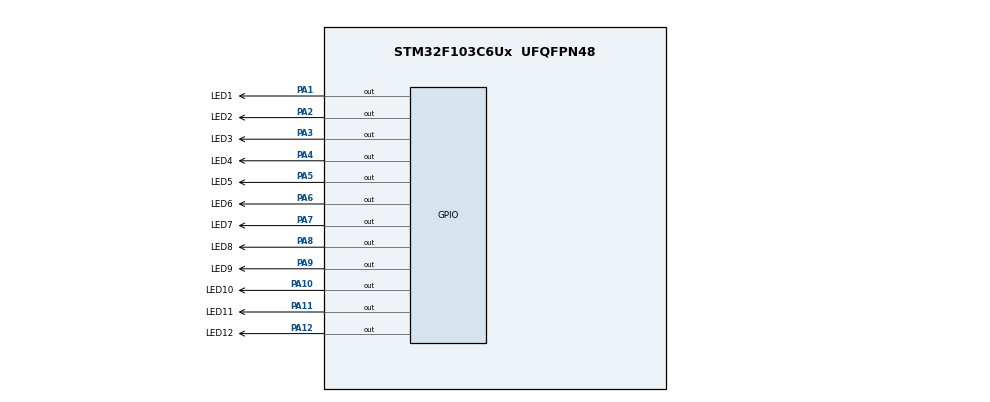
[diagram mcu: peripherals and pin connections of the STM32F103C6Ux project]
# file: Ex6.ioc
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Mcu.Family=STM32F1
Mcu.Name=STM32F103C6Ux
Mcu.Package=UFQFPN48
NVIC.PriorityGroup=NVIC_PRIORITYGROUP_4
PA1.GPIO_Label=LED1
PA1.Signal=GPIO_Output
PA10.GPIO_Label=LED10
PA10.Signal=GPIO_Output
PA11.GPIO_Label=LED11
PA11.Signal=GPIO_Output
PA12.GPIO_Label=LED12
PA12.Signal=GPIO_Output
PA2.GPIO_Label=LED2
PA2.Signal=GPIO_Output
PA3.GPIO_Label=LED3
PA3.Signal=GPIO_Output
PA4.GPIO_Label=LED4
PA4.Signal=GPIO_Output
PA5.GPIO_Label=LED5
PA5.Signal=GPIO_Output
PA6.GPIO_Label=LED6
PA6.Signal=GPIO_Output
PA7.GPIO_Label=LED7
PA7.Signal=GPIO_Output
PA8.GPIO_Label=LED8
PA8.Signal=GPIO_Output
PA9.GPIO_Label=LED9
PA9.Signal=GPIO_Output
ProjectManager.HeapSize=0x200
ProjectManager.StackSize=0x400
ProjectManager.TargetToolchain=STM32CubeIDE
RCC.APB1Freq_Value=8000000
RCC.APB2Freq_Value=8000000
VP_SYS_VS_ND.Mode=No_Debug
board=custom

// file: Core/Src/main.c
/* USER CODE BEGIN Header */
/**
  ******************************************************************************
  * @file           : main.c
  * @brief          : Main program body
  ******************************************************************************
  * @attention
  *
  * <h2><center>&copy; Copyright (c) 2023 STMicroelectronics.
  * All rights reserved.</center></h2>
  *
  * This software component is licensed by ST under BSD 3-Clause license,
  * the "License"; You may not use this file except in compliance with the
  * License. You may obtain a copy of the License at:
  *                        opensource.org/licenses/BSD-3-Clause
  *
  ******************************************************************************
  */
/* USER CODE END Header */
#include "main.h"

void SystemClock_Config(void);
static void MX_GPIO_Init(void);

/* USER CODE BEGIN 0 */
void sigleLed_on(int numLed){
	int a=0, b=0, c=0, d=0, e=0, f=0, g=0, i=0, k=0, l=0, m=0, n=0;
	switch(numLed){
	case 1:
		a=1; b=0; c=0; d=0; e=0; f=0; g=0; i=0; k=0; l=0; m=0; n=0;
		break;
	case 2:
		a=0; b=1; c=0; d=0; e=0; f=0; g=0; i=0; k=0; l=0; m=0; n=0;
		break;
	case 3:
		a=0; b=0; c=1; d=0; e=0; f=0; g=0; i=0; k=0; l=0; m=0; n=0;
		break;
	case 4:
		a=0; b=0; c=0; d=1; e=0; f=0; g=0; i=0; k=0; l=0; m=0; n=0;
		break;
	case 5:
		a=0; b=0; c=0; d=0; e=1; f=0; g=0; i=0; k=0; l=0; m=0; n=0;
		break;
	case 6:
		a=0; b=0; c=0; d=0; e=0; f=1; g=0; i=0; k=0; l=0; m=0; n=0;
		break;
	case 7:
		a=0; b=0; c=0; d=0; e=0; f=0; g=1; i=0; k=0; l=0; m=0; n=0;
		break;
	case 8:
		a=0; b=0; c=0; d=0; e=0; f=0; g=0; i=1; k=0; l=0; m=0; n=0;
		break;
	case 9:
		a=0; b=0; c=0; d=0; e=0; f=0; g=0; i=0; k=1; l=0; m=0; n=0;
		break;
	case 10:
		a=0; b=0; c=0; d=0; e=0; f=0; g=0; i=0; k=0; l=1; m=0; n=0;
		break;
	case 11:
		a=0; b=0; c=0; d=0; e=0; f=0; g=0; i=0; k=0; l=0; m=1; n=0;
		break;
	case 12:
		a=0; b=0; c=0; d=0; e=0; f=0; g=0; i=0; k=0; l=0; m=0; n=1;
		break;
	}
	HAL_GPIO_WritePin(LED1_GPIO_Port, LED1_Pin, a);
	HAL_GPIO_WritePin(LED2_GPIO_Port, LED2_Pin, b);
	HAL_GPIO_WritePin(LED3_GPIO_Port, LED3_Pin, c);
	HAL_GPIO_WritePin(LED4_GPIO_Port, LED4_Pin, d);
	HAL_GPIO_WritePin(LED5_GPIO_Port, LED5_Pin, e);
	HAL_GPIO_WritePin(LED6_GPIO_Port, LED6_Pin, f);
	HAL_GPIO_WritePin(LED7_GPIO_Port, LED7_Pin, g);
	HAL_GPIO_WritePin(LED8_GPIO_Port, LED8_Pin, i);
	HAL_GPIO_WritePin(LED9_GPIO_Port, LED9_Pin, k);
	HAL_GPIO_WritePin(LED10_GPIO_Port, LED10_Pin, l);
	HAL_GPIO_WritePin(LED11_GPIO_Port, LED11_Pin, m);
	HAL_GPIO_WritePin(LED12_GPIO_Port, LED12_Pin, n);
}
void sequenceClock(int counter){
	if(counter==0){sigleLed_on(12);}
	else if(counter==11){sigleLed_on(11);}
	else if(counter==10){sigleLed_on(10);}
	else if(counter==9){sigleLed_on(9);}
	else if(counter==8){sigleLed_on(8);}
	else if(counter==7){sigleLed_on(7);}
	else if(counter==6){sigleLed_on(6);}
	else if(counter==5){sigleLed_on(5);}
	else if(counter==4){sigleLed_on(4);}
	else if(counter==3){sigleLed_on(3);}
	else if(counter==2){sigleLed_on(2);}
	else if(counter==1){sigleLed_on(1);}
}
/* USER CODE END 0 */

int main(void)
{

  /* MCU Configuration--------------------------------------------------------*/

  /* Reset of all peripherals, Initializes the Flash interface and the Systick. */
  HAL_Init();

  /* Configure the system clock */
  SystemClock_Config();

  /* Initialize all configured peripherals */
  MX_GPIO_Init();

  /* Infinite loop */
  /* USER CODE BEGIN WHILE */

  int t = 0;
  while (1)
  {
	  sequenceClock(t);
	  t++;
	  if(t>=12) t=0;
	  HAL_Delay(500);
    /* USER CODE END WHILE */

  }
}

void SystemClock_Config(void)
{
  RCC_OscInitTypeDef RCC_OscInitStruct = {0};
  RCC_ClkInitTypeDef RCC_ClkInitStruct = {0};

  /** Initializes the RCC Oscillators according to the specified parameters
  * in the RCC_OscInitTypeDef structure.
  */
  RCC_OscInitStruct.OscillatorType = RCC_OSCILLATORTYPE_HSI;
  RCC_OscInitStruct.HSIState = RCC_HSI_ON;
  RCC_OscInitStruct.HSICalibrationValue = RCC_HSICALIBRATION_DEFAULT;
  RCC_OscInitStruct.PLL.PLLState = RCC_PLL_NONE;
  if (HAL_RCC_OscConfig(&RCC_OscInitStruct) != HAL_OK)
  {
    Error_Handler();
  }
  /** Initializes the CPU, AHB and APB buses clocks
  */
  RCC_ClkInitStruct.ClockType = RCC_CLOCKTYPE_HCLK|RCC_CLOCKTYPE_SYSCLK
                              |RCC_CLOCKTYPE_PCLK1|RCC_CLOCKTYPE_PCLK2;
  RCC_ClkInitStruct.SYSCLKSource = RCC_SYSCLKSOURCE_HSI;
  RCC_ClkInitStruct.AHBCLKDivider = RCC_SYSCLK_DIV1;
  RCC_ClkInitStruct.APB1CLKDivider = RCC_HCLK_DIV1;
  RCC_ClkInitStruct.APB2CLKDivider = RCC_HCLK_DIV1;

  if (HAL_RCC_ClockConfig(&RCC_ClkInitStruct, FLASH_LATENCY_0) != HAL_OK)
  {
    Error_Handler();
  }
}

static void MX_GPIO_Init(void)
{
  GPIO_InitTypeDef GPIO_InitStruct = {0};

  /* GPIO Ports Clock Enable */
  __HAL_RCC_GPIOA_CLK_ENABLE();

  /*Configure GPIO pin Output Level */
  HAL_GPIO_WritePin(GPIOA, LED1_Pin|LED2_Pin|LED3_Pin|LED4_Pin
                          |LED5_Pin|LED6_Pin|LED7_Pin|LED8_Pin
                          |LED9_Pin|LED10_Pin|LED11_Pin|LED12_Pin, GPIO_PIN_RESET);

  /*Configure GPIO pins : LED1_Pin LED2_Pin LED3_Pin LED4_Pin
                           LED5_Pin LED6_Pin LED7_Pin LED8_Pin
                           LED9_Pin LED10_Pin LED11_Pin LED12_Pin */
  GPIO_InitStruct.Pin = LED1_Pin|LED2_Pin|LED3_Pin|LED4_Pin
                          |LED5_Pin|LED6_Pin|LED7_Pin|LED8_Pin
                          |LED9_Pin|LED10_Pin|LED11_Pin|LED12_Pin;
  GPIO_InitStruct.Mode = GPIO_MODE_OUTPUT_PP;
  GPIO_InitStruct.Pull = GPIO_NOPULL;
  GPIO_InitStruct.Speed = GPIO_SPEED_FREQ_LOW;
  HAL_GPIO_Init(GPIOA, &GPIO_InitStruct);

}

void Error_Handler(void)
{
  __disable_irq();
  while (1)
  {
  }
}

/************************ (C) COPYRIGHT STMicroelectronics *****END OF FILE****/
